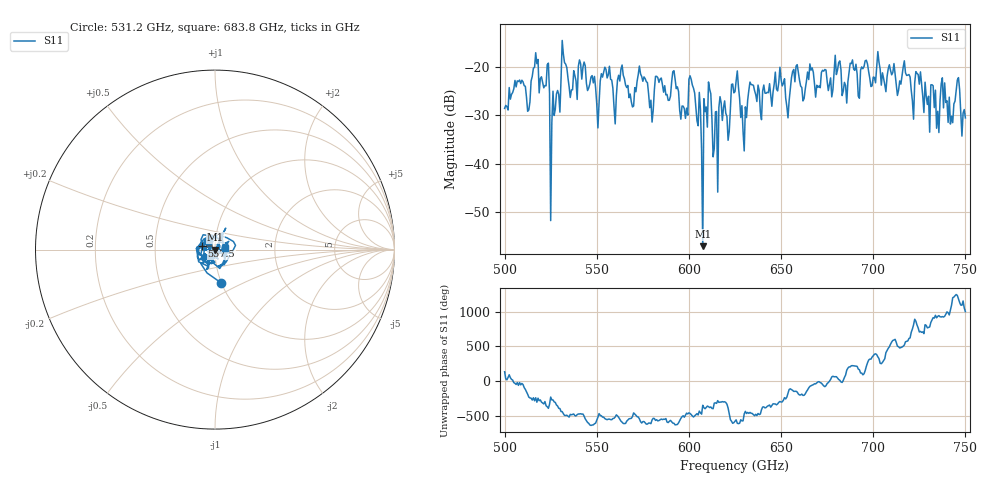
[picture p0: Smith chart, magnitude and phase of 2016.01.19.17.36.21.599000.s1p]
!Created with skrf (http://scikit-rf.org).
# GHz S RI R 50.0
!freq ReS11 ImS11
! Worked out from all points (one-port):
!   401 points, 500 GHz to 750 GHz, reference 50 ohm
!   lowest |S11| = -57.2 dB at 607.5 GHz (marker M1), VSWR 1.00, Z = 50.1 + j0.0292 ohm
!   |S11| at or under -10 dB: start of sweep to end of sweep
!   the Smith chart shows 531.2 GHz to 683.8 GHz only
!   S11 on the Smith chart (normalised r, x): 531.2 GHz: 1.00, -0.39; 557.5 GHz: 0.86, +0.03; 683.8 GHz: 1.12, +0.02
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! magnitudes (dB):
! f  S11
! 500 GHz  -28.5
! 513.1 GHz  -28.9
! 516.9 GHz  -17.0
! 523.1 GHz  -19.4
! 526.2 GHz  -24.9
! 531.2 GHz  -14.4
! 550.6 GHz  -32.6
! 557.5 GHz  -22.5
! 562.5 GHz  -22.8
! 568.8 GHz  -27.2
! 573.1 GHz  -19.7
! 579.4 GHz  -26.8
! 583.1 GHz  -22.2
! 593.8 GHz  -24.1
! 598.1 GHz  -30.6
! 601.2 GHz  -22.5
! 607.5 GHz  -57.2
! 610.6 GHz  -23.0
! 614.4 GHz  -29.3
! 625 GHz  -25.1
! 630 GHz  -37.4
! 633.8 GHz  -23.6
! 653.8 GHz  -30.5
! 656.2 GHz  -20.9
! 683.8 GHz  -24.9
! 687.5 GHz  -19.1
! 718.8 GHz  -21.6
! 750 GHz  -30.5
